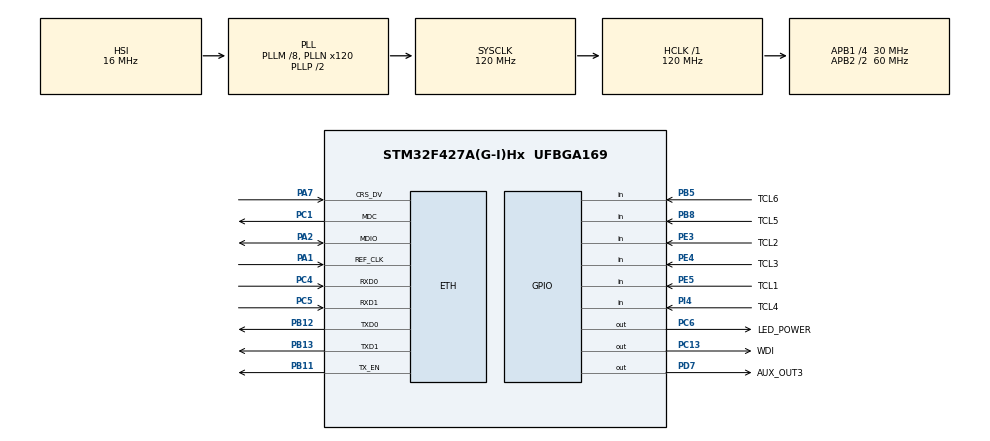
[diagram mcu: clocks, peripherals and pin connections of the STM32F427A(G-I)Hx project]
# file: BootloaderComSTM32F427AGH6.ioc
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ETH.MediaInterface=ETH_MEDIA_INTERFACE_RMII
ETH.PHY_Name_RMII=DP83848_PHY_ADDRESS
LWIP.GATEWAY_ADDRESS=010.001.025.001
LWIP.IP_ADDRESS=010.001.025.133
LWIP.LWIP_DHCP=0
LWIP.LWIP_TCP=0
LWIP.MEMP_NUM_TCP_PCB=2
LWIP.MEMP_NUM_UDP_PCB=2
LWIP.NETMASK_ADDRESS=255.255.255.000
LWIP.Version=v2.1.2_Cube
Mcu.Family=STM32F4
Mcu.Name=STM32F427A(G-I)Hx
Mcu.Package=UFBGA169
NVIC.ETH_IRQn=true\:0\:0\:false\:false\:true\:true\:true
NVIC.PriorityGroup=NVIC_PRIORITYGROUP_4
NVIC.TIM8_BRK_TIM12_IRQn=true\:0\:0\:false\:false\:true\:true\:true
PA1.Mode=RMII
PA1.Signal=ETH_REF_CLK
PA13.Mode=Serial_Wire
PA13.Signal=SYS_JTMS-SWDIO
PA14.Mode=Serial_Wire
PA14.Signal=SYS_JTCK-SWCLK
PA2.Mode=RMII
PA2.Signal=ETH_MDIO
PA7.Mode=RMII
PA7.Signal=ETH_CRS_DV
PB11.Mode=RMII
PB11.Signal=ETH_TX_EN
PB12.Mode=RMII
PB12.Signal=ETH_TXD0
PB13.Mode=RMII
PB13.Signal=ETH_TXD1
PB5.GPIO_Label=TCL6
PB5.Signal=GPIO_Input
PB8.GPIO_Label=TCL5
PB8.Signal=GPIO_Input
PC1.Mode=RMII
PC1.Signal=ETH_MDC
PC13.GPIO_Label=WDI
PC13.Signal=GPIO_Output
PC4.Mode=RMII
PC4.Signal=ETH_RXD0
PC5.Mode=RMII
PC5.Signal=ETH_RXD1
PC6.GPIO_Label=LED_POWER
PC6.Signal=GPIO_Output
PD7.GPIO_Label=AUX_OUT3
PD7.Signal=GPIO_Output
PE3.GPIO_Label=TCL2
PE3.GPIO_PuPd=GPIO_PULLUP
PE3.Signal=GPIO_Input
PE4.GPIO_Label=TCL3
PE4.Signal=GPIO_Input
PE5.GPIO_Label=TCL1
PE5.GPIO_PuPd=GPIO_PULLUP
PE5.Signal=GPIO_Input
PI4.GPIO_Label=TCL4
PI4.Signal=GPIO_Input
ProjectManager.HeapSize=0x400
ProjectManager.StackSize=0x600
ProjectManager.TargetToolchain=STM32CubeIDE
RCC.48MHZClocksFreq_Value=60000000
RCC.AHBFreq_Value=120000000
RCC.APB1CLKDivider=RCC_HCLK_DIV4
RCC.APB1Freq_Value=30000000
RCC.APB1TimFreq_Value=60000000
RCC.APB2CLKDivider=RCC_HCLK_DIV2
RCC.APB2Freq_Value=60000000
RCC.APB2TimFreq_Value=120000000
RCC.CortexFreq_Value=120000000
RCC.HCLKFreq_Value=120000000
RCC.HSE_VALUE=8000000
RCC.HSI_VALUE=16000000
RCC.LSE_VALUE=32768
RCC.PLLM=8
RCC.PLLN=120
RCC.SYSCLKFreq_VALUE=120000000
RCC.SYSCLKSource=RCC_SYSCLKSOURCE_PLLCLK
RCC.VCOOutputFreq_Value=240000000
TIM12.Period=90
TIM12.Prescaler=9999
VP_CRC_VS_CRC.Mode=CRC_Activate
VP_LWIP_VS_Enabled.Mode=Enabled
VP_TIM12_VS_ClockSourceINT.Mode=Internal
board=custom

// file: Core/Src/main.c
/* USER CODE BEGIN Header */
/**
  ******************************************************************************
  * @file           : main.c
  * @brief          : Main program body
  ******************************************************************************
  * @attention
  *
  * <h2><center>&copy; Copyright (c) 2021 STMicroelectronics.
  * All rights reserved.</center></h2>
  *
  * This software component is licensed by ST under BSD 3-Clause license,
  * the "License"; You may not use this file except in compliance with the
  * License. You may obtain a copy of the License at:
  *                        opensource.org/licenses/BSD-3-Clause
  *
  ******************************************************************************
  */
/* USER CODE END Header */
#include "main.h"
#include "lwip.h"

CRC_HandleTypeDef hcrc;

TIM_HandleTypeDef htim12;

void SystemClock_Config(void);
static void MX_GPIO_Init(void);
static void MX_CRC_Init(void);
static void MX_TIM12_Init(void);

/* USER CODE BEGIN 0 */
///////////////////////////////////////////////////////////////////////////////////////////////////
#undef STM47x

#include "lwip/opt.h"
#include "lwip/udp.h"
#include "lwip/pbuf.h"

#include "string.h"
#include "netif.h"

#ifdef STM47x
	#include "stm32f7xx_hal.h"
#else
	#include "stm32f4xx_hal.h"
#endif

#define RTC_RAM_BASE_ADDR   BKPSRAM_BASE
//#define BaseBattRam				(*(volatile unsigned long *)(RTC_RAM_BASE_ADDR + 0x000))

typedef struct _RegistroCabecalho2K1{
	unsigned long id;	//identificador do tipo de registro

} BaseBattRam1;

typedef struct _EstruturaBattRam2{
	int buffer[100];

} BaseBattRam2;

#define BattRam1 (*(volatile BaseBattRam1 *)(RTC_RAM_BASE_ADDR + 0x000))
#define BattRam2 (*(volatile BaseBattRam2 *)(RTC_RAM_BASE_ADDR + 0x9ff)) //A BATTRAM tem 4kbytes, estou "iniciando" a BattRam2 512 bytes acima do fim da região BattRam1

//#define PORTA_ 1001
#define PORTA_ BattRam2.buffer[12]

uint32_t buffwords[64*256+10];
uint32_t next_addr_to_write;
uint32_t indx;

/* Base address of the Flash sectors single bank organization*/
#ifdef STM47x

#define ADDR_FLASH_SECTOR_0     ((uint32_t)0x08000000) /* Base address of Sector 0, 32 Kbytes */
#define ADDR_FLASH_SECTOR_1     ((uint32_t)0x08008000) /* Base address of Sector 1, 32 Kbytes */
#define ADDR_FLASH_SECTOR_2     ((uint32_t)0x08010000) /* Base address of Sector 2, 32 Kbytes */
#define ADDR_FLASH_SECTOR_3     ((uint32_t)0x08018000) /* Base address of Sector 3, 32 Kbytes */
#define ADDR_FLASH_SECTOR_4     ((uint32_t)0x08020000) /* Base address of Sector 4, 128 Kbytes */
#define ADDR_FLASH_SECTOR_5     ((uint32_t)0x08040000) /* Base address of Sector 5, 256 Kbytes */
#define ADDR_FLASH_SECTOR_6     ((uint32_t)0x08080000) /* Base address of Sector 6, 256 Kbytes */
#define ADDR_FLASH_SECTOR_7     ((uint32_t)0x080C0000) /* Base address of Sector 7, 256 Kbytes */

#define FLASH_CODIGO	((uint32_t) 0x080c0000)

#else

#define ADDR_FLASH_SECTOR_0     ((uint32_t)0x08000000) /* Base address of Sector 0, 16 Kbytes */
#define ADDR_FLASH_SECTOR_1     ((uint32_t)0x08004000) /* Base address of Sector 1, 16 Kbytes */
#define ADDR_FLASH_SECTOR_2     ((uint32_t)0x08008000) /* Base address of Sector 2, 16 Kbytes */
#define ADDR_FLASH_SECTOR_3     ((uint32_t)0x0800C000) /* Base address of Sector 3, 16 Kbytes */
#define ADDR_FLASH_SECTOR_4     ((uint32_t)0x08010000) /* Base address of Sector 4, 64 Kbytes */
#define ADDR_FLASH_SECTOR_5     ((uint32_t)0x08020000) /* Base address of Sector 5, 128 Kbytes */
#define ADDR_FLASH_SECTOR_6     ((uint32_t)0x08040000) /* Base address of Sector 6, 128 Kbytes */
#define ADDR_FLASH_SECTOR_7     ((uint32_t)0x08060000) /* Base address of Sector 7, 128 Kbytes */
#define ADDR_FLASH_SECTOR_8     ((uint32_t)0x08080000) /* Base address of Sector 8, 128 Kbytes */
#define ADDR_FLASH_SECTOR_9     ((uint32_t)0x080A0000) /* Base address of Sector 9, 128 Kbytes */
#define ADDR_FLASH_SECTOR_10    ((uint32_t)0x080C0000) /* Base address of Sector 10, 128 Kbytes */
#define ADDR_FLASH_SECTOR_11    ((uint32_t)0x080E0000) /* Base address of Sector 11, 128 Kbytes */

#define FLASH_CODIGO	ADDR_FLASH_SECTOR_5

#endif

uint32_t FirstSector = 0, NbOfSectors = 0;
uint32_t Address = 0, SECTORError = 0;
__IO uint32_t data32 = 0 , MemoryProgramStatus = 0;

/*Variable used for Erase procedure*/
static FLASH_EraseInitTypeDef EraseInitStruct;

static uint32_t GetSector(uint32_t Address)
{
  uint32_t sector = 0;

  if((Address < ADDR_FLASH_SECTOR_1) && (Address >= ADDR_FLASH_SECTOR_0))
  {
    sector = FLASH_SECTOR_0;
  }
  else if((Address < ADDR_FLASH_SECTOR_2) && (Address >= ADDR_FLASH_SECTOR_1))
  {
    sector = FLASH_SECTOR_1;
  }
  else if((Address < ADDR_FLASH_SECTOR_3) && (Address >= ADDR_FLASH_SECTOR_2))
  {
    sector = FLASH_SECTOR_2;
  }
  else if((Address < ADDR_FLASH_SECTOR_4) && (Address >= ADDR_FLASH_SECTOR_3))
  {
    sector = FLASH_SECTOR_3;
  }
  else if((Address < ADDR_FLASH_SECTOR_5) && (Address >= ADDR_FLASH_SECTOR_4))
  {
    sector = FLASH_SECTOR_4;
  }
  else if((Address < ADDR_FLASH_SECTOR_6) && (Address >= ADDR_FLASH_SECTOR_5))
  {
    sector = FLASH_SECTOR_5;
  }
  else if((Address < ADDR_FLASH_SECTOR_7) && (Address >= ADDR_FLASH_SECTOR_6))
  {
    sector = FLASH_SECTOR_6;
  }

#ifdef STM47x
  else /* (Address < FLASH_END_ADDR) && (Address >= ADDR_FLASH_SECTOR_11) */
  {
	  sector = FLASH_SECTOR_7; //sector = FLASH_SECTOR_11;
  }
  return sector;
}
#else
	else if((Address < ADDR_FLASH_SECTOR_8) && (Address >= ADDR_FLASH_SECTOR_7))
	{
	  sector = FLASH_SECTOR_7;
	}
	else if((Address < ADDR_FLASH_SECTOR_9) && (Address >= ADDR_FLASH_SECTOR_8))
	{
	  sector = FLASH_SECTOR_8;
	}
	else if((Address < ADDR_FLASH_SECTOR_10) && (Address >= ADDR_FLASH_SECTOR_9))
	{
	  sector = FLASH_SECTOR_9;
	}  else if((Address < ADDR_FLASH_SECTOR_11) && (Address >= ADDR_FLASH_SECTOR_10))
	{
	  sector = FLASH_SECTOR_10;
	}
	else /* (Address < FLASH_END_ADDR) && (Address >= ADDR_FLASH_SECTOR_11) */
	{
		  sector  = FLASH_SECTOR_11;
	}
	return sector;
	}

#endif

/**-----------------------------------------------------------------------------------------------------------------------------------
  * @resumo Programa uma word (32-bit) no endereço de memória flash específico
  *
  * @OBS1   As funções HAL_FLASH_Unlock() e HAL_FLASH_OB_Unlock() devem ser chamadas previamente para habilitar a interface FLASH
  *         As funções HAL_FLASH_Lock() e HAL_FLASH_OB_Lock() devem ser chamadas  posteriormente para desabilitar a interface FLASH
  *
  * @OBS2   O endereço de memória FLASH deve ser apagado antes da inserção de um novo valor. Neste caso, a página deve ser apagada.
  *
  * @param  Endereço:	  Endereço da memória em que o dado de 32 bits deverá ser armazenado. Endereço deve ser múltiplo de 2
  * @param  *dado:        Ponteiro para o valor a ser inserido no endereço de memória especificado
  *
  * @retval Void
  */
unsigned int FLASH_escreve_32bits(uint32_t endereco, uint32_t *dado){
	unsigned int problema=0;
	HAL_FLASH_Unlock();
	HAL_FLASH_OB_Unlock();

	for (int i=0;i<10;i++)
		if( HAL_FLASH_Program(FLASH_TYPEPROGRAM_WORD,(uint64_t)endereco, *dado) == HAL_OK){
			// rotina caso ocorra erro no processo de apagar
			break;
		}

	HAL_FLASH_OB_Lock();
	HAL_FLASH_Lock();

}
/*-----------------------------------------------------------------------------------------------------------------------------------*/

void erase(uint32_t  start,uint32_t end){
	/* Unlock the Flash to enable the flash control register access *************/
	HAL_FLASH_Unlock();

	/* Allow Access to option bytes sector */
	HAL_FLASH_OB_Unlock();

	 /* Get the 1st sector to erase */
	  FirstSector = GetSector(start);
	  /* Get the number of sector to erase from 1st sector*/
	  NbOfSectors = GetSector(end) - FirstSector + 1;
	  /* Fill EraseInit structure*/
	  EraseInitStruct.TypeErase     = FLASH_TYPEERASE_SECTORS;
	  EraseInitStruct.VoltageRange  = FLASH_VOLTAGE_RANGE_3;
	  EraseInitStruct.Sector        = FirstSector;
	  EraseInitStruct.NbSectors     = NbOfSectors;
	  for (int i=0;i<10;i++)
		  if (HAL_FLASHEx_Erase(&EraseInitStruct, &SECTORError) == HAL_OK)
		  {
			/*
			  Error occurred while sector erase.
			  User can add here some code to deal with this error.
			  SECTORError will contain the faulty sector and then to know the code error on this sector,
			  user can call function 'HAL_FLASH_GetError()'
			*/
			  break;
		  }

	HAL_FLASH_OB_Lock();
	HAL_FLASH_Lock();
}

unsigned int program(void *flash_addr, unsigned int data_addr, unsigned int size){
unsigned int bsize=size>>2;  //a gravacao acontece em palavras de 32bits, por isso devido por 4 o size quera passado em bytes
uint32_t *data_to_FLASH;
int i;
unsigned int problema=0;
data_to_FLASH=(uint32_t)data_addr;

	for(i = 0; i < bsize; i+=1){
	   problema=FLASH_escreve_32bits(flash_addr + i*4, (uint32_t*)&data_to_FLASH[i]);
	   if (problema!=0) break;
    }
	return problema;
}

void enable_backup_sram(uint16_t clockforever)
{
    /*DBP : Enable access to Backup domain */
   HAL_PWR_EnableBkUpAccess();
    /*PWREN : Enable backup domain access  */
 __HAL_RCC_PWR_CLK_ENABLE();
    /*BRE : Enable backup regulator
      BRR : Wait for backup regulator to stabilize */
 HAL_PWREx_EnableBkUpReg();
   /*DBP : Disable access to Backup domain */
    //HAL_PWR_DisableBkUpAccess();

    if  (clockforever==1) //se 1 deixa habilitado o clock, fazendo com que o acesso a ram backup seja direto.
    __HAL_RCC_BKPSRAM_CLK_ENABLE();

}

void writeBkpSram(uint32_t l_data, uint32_t WRITE_READ_ADDR)
{
   /* Enable clock to BKPSRAM */
  __HAL_RCC_BKPSRAM_CLK_ENABLE();
  /* Pointer write on specific location of backup SRAM */
  *(uint32_t *) (BKPSRAM_BASE + WRITE_READ_ADDR) = l_data;
 /* Disable clock to BKPSRAM */
 __HAL_RCC_BKPSRAM_CLK_DISABLE();
}

uint32_t readBkpSram ( uint32_t WRITE_READ_ADDR)
{
   uint32_t i_retval;

  /* Enable clock to BKPSRAM */
  __HAL_RCC_BKPSRAM_CLK_ENABLE();
  /* Pointer write from specific location of backup SRAM */
  i_retval =  *(uint32_t*) (BKPSRAM_BASE + WRITE_READ_ADDR);
  /* Disable clock to BKPSRAM */
  __HAL_RCC_BKPSRAM_CLK_DISABLE();
  return i_retval;
}

//extern uint16_t udp_callback(uint8_t soc, uint8_t *rip, uint16_t rport, uint8_t *buf, uint16_t len);//

uint32_t cnt_watchdog = 0;

struct udp_pcb *upcb;
struct udp_pcb *upcb1;

void udp_echoserver_receive_callback1(void *arg, struct udp_pcb *upcb, struct pbuf *p, struct ip_addr *addr, u16_t port)
{
	 u8_t *data;
	  u16_t len;
	  err_t err;
	  uint8_t *buf;

        //resposta aqui...
			buf=p->payload;
			uint32_t Command 	  = (buf[ 3]<<24) +  (buf[ 2]<<16) +  (buf[1]<<8) +  buf[0];
			uint32_t adressFlash  = (buf[ 7]<<24) +  (buf[ 6]<<16) +  (buf[5]<<8) +  buf[4];
			uint32_t dataToFlash  = (buf[11]<<24) +  (buf[10]<<16) +  (buf[9]<<8) +  buf[8];

			if (Command==0xFFFFFFFF) //apagar 1 setor
			{
				 erase(adressFlash, adressFlash+1);
			     next_addr_to_write =FLASH_CODIGO;
			     //HAL_Delay(1000);

				 indx=0;

			}
			if (Command==0xDEADBEEF) //resetar o sistema
			{
				 HAL_PWR_EnableBkUpAccess();

				 free(buffwords);
				 if (BattRam1.id==0xABCD)
					 BattRam1.id=0x0009;

				 HAL_NVIC_SystemReset();
			}
			if (Command==0x0) //escreve uma word na FLASH
			{
				 FLASH_escreve_32bits(adressFlash, &dataToFlash);
			}
			if (Command==0x1BABACA1) //escreve uma 1024 bytes num buffer de 64k
			{
				int k=0, i=0;
				while (i<(256*2)){

					   dataToFlash = (buf[ 11+i]<<24) +  (buf[ 10 +i]<<16) +  (buf[9 +i]<<8) +  buf[8 +i];

					   //FLASH_escreve_32bits(adressFlash + i, &dataToFlash);
					   buffwords[indx]=dataToFlash;
					   indx=indx+1;
					   i=i+4;
					   k=k+1;
				    }

			}

			if (Command==0x2BABACA2) //escreve na FLASH o que tiver que ser escrito.
			{
				for(int i = 0; i <indx; i+=1){

				    FLASH_escreve_32bits(next_addr_to_write + i*4, &buffwords[i]);
				}
				next_addr_to_write=next_addr_to_write+indx*4;
				indx=0;

			}

			//HAL_Delay(10);

			uint8_t temp = buf ;

  /* Free the p buffer */
  pbuf_free(p);

  udp_send1 ( addr, port, temp, 8);

}

void  udp_send1 (struct ip_addr *addr, u16_t port, uint8_t *sendbuf, uint16_t len)
{

	err_t err;
	typedef ip4_addr_t ip_addr_t;

	struct pbuf *p;

	p=pbuf_alloc(PBUF_TRANSPORT, len, PBUF_POOL);

    //pbuf_take(p, sendbuf, len) ;
	 memcpy(p->payload, sendbuf, len); // payload copied

    //err= udp_connect(upcb,  &Ripaddr, NroPortaRemota);
	//err=-err;
     err= udp_connect(upcb1,  addr, port);
     if(err != ERR_OK)
     {
    	 err=-err;
     }

    //err=udp_send (upcb, p);
	err=udp_sendto (upcb1, p, addr, port); // the message back to the original host
    if(err != ERR_OK)
    {
   	 err=-err;
    }

	pbuf_free(p);
	  /* free the UDP connection, so we can accept new clients */
    udp_disconnect(upcb1);

}

void udp_echoserver_init(void)
{
   struct udp_pcb *upcb;
   err_t err;

   /* Create a new UDP control block  */
   upcb = udp_new();
   upcb1 = udp_new();

   if (upcb)
   {
     /* Bind the upcb to the UDP_PORT port */
     /* Using IP_ADDR_ANY allow the upcb to be used by any local interface */
      err = udp_bind(upcb, IP_ADDR_ANY, PORTA_);

      if(err == ERR_OK)
      {
        /* Set a receive callback for the upcb */
        udp_recv(upcb, udp_echoserver_receive_callback1, NULL);
      }
      else
      {
        udp_remove(upcb);
        printf("can not bind pcb");
      }
   }
   else
   {
     printf("can not create pcb");
   }
}

static void MX_GPIO_DeInit(void)
{

    __HAL_RCC_GPIOG_CLK_DISABLE();
    __HAL_RCC_GPIOD_CLK_DISABLE();
	__HAL_RCC_GPIOB_CLK_DISABLE();
	__HAL_RCC_GPIOA_CLK_DISABLE();
    __HAL_RCC_GPIOH_CLK_DISABLE();
	__HAL_RCC_GPIOC_CLK_DISABLE();

  HAL_GPIO_DeInit(TCL1_GPIO_Port, TCL1_Pin);
  HAL_GPIO_DeInit(TCL2_GPIO_Port, TCL2_Pin);
  HAL_GPIO_DeInit(TCL3_GPIO_Port, TCL3_Pin);
  HAL_GPIO_DeInit(TCL4_GPIO_Port, TCL4_Pin);
  HAL_GPIO_DeInit(TCL5_GPIO_Port, TCL5_Pin);
  HAL_GPIO_DeInit(TCL6_GPIO_Port, TCL6_Pin);
  HAL_GPIO_DeInit(WDI_GPIO_Port, WDI_Pin);

}

void deinitEverything()
{
	//-- reset peripherals to guarantee flawless start of user application
	MX_GPIO_DeInit( );
	HAL_RCC_DeInit();
	HAL_DeInit();
	SysTick->CTRL = 0;
	SysTick->LOAD = 0;
	SysTick->VAL = 0;
}

typedef void (application_t)(void);

typedef struct
{
    uint32_t		stack_addr;     // Stack Pointer
    application_t*	func_p;        // Program Counter
} JumpStruct;

void jumpToApp(const uint32_t address)
{
	const JumpStruct* vector_p = (JumpStruct*)address;

	deinitEverything();

	/* let's do The Jump! */
    /* Jump, used asm to avoid stack optimization */
    asm("msr msp, %0; bx %1;" : : "r"(vector_p->stack_addr), "r"(vector_p->func_p));
}

// Callback: timer has rolled over
// External Watchdog Timer
void HAL_TIM_PeriodElapsedCallback(TIM_HandleTypeDef *htim)
{
  // Check which version of the timer triggered this callback and toggle strobe pin on external watchdog
  if (htim == &htim12 )
  {
	  cnt_watchdog++;

	  if(cnt_watchdog <= 800){ 					// 800 equiv 8s
		  HAL_GPIO_TogglePin(GPIOC, GPIO_PIN_13);
	  }

  }
}

/* USER CODE END 0 */

int main(void)
{

  /* MCU Configuration--------------------------------------------------------*/

  /* Reset of all peripherals, Initializes the Flash interface and the Systick. */
  HAL_Init();

  /* Configure the system clock */
  SystemClock_Config();

  /* USER CODE BEGIN SysInit */

#if 0
  /* USER CODE END SysInit */

  /* Initialize all configured peripherals */
  MX_GPIO_Init();
  MX_CRC_Init();
  MX_LWIP_Init();
  MX_TIM12_Init();
  /* USER CODE BEGIN 2 */
#endif

  MX_GPIO_Init();

  MX_TIM12_Init();
  HAL_TIM_Base_Start_IT(&htim12);

  __HAL_RCC_BKPSRAM_CLK_ENABLE();

  if(!HAL_GPIO_ReadPin(TCL2_GPIO_Port, TCL2_Pin) || BattRam1.id==0xABCD)
  {
		//se o botão está pressionado, então entra no modo de bootloader

		//MX_GPIO_DeInit();
		//MX_GPIO_Init();
		MX_CRC_Init();
		MX_LWIP_Init();

	//	buffwords=(uint32_t*)calloc(64*1024, sizeof(uint8_t));  //o processador possui 192Kbytes de RAM

	    udp_echoserver_init();

	    HAL_TIM_Base_Stop(&htim12);

	    while (1)
	    {

	  	   HAL_GPIO_WritePin(WDI_GPIO_Port,WDI_Pin, GPIO_PIN_RESET);
	   	   HAL_GPIO_WritePin(WDI_GPIO_Port,WDI_Pin, GPIO_PIN_SET);

	   	   HAL_GPIO_WritePin( AUX_OUT3_GPIO_Port ,AUX_OUT3_Pin,GPIO_PIN_SET); //desliga o LED
	   	   HAL_GPIO_WritePin( LED_POWER_GPIO_Port , LED_POWER_Pin,GPIO_PIN_SET); //desliga o LED
	   	   HAL_Delay(50);
	   	   MX_LWIP_Process( );
	   	   HAL_GPIO_WritePin( AUX_OUT3_GPIO_Port ,AUX_OUT3_Pin,GPIO_PIN_RESET); //liga o LED
	   	   HAL_GPIO_WritePin( LED_POWER_GPIO_Port , LED_POWER_Pin,GPIO_PIN_RESET); //liga o LED
	   	   HAL_Delay(50);
	       MX_LWIP_Process( );

	       if(!HAL_GPIO_ReadPin(TCL1_GPIO_Port, TCL1_Pin)){

	    	   HAL_PWR_EnableBkUpAccess();
			   BattRam1.id=0x0009;
			   HAL_NVIC_SystemReset();

			   //MX_GPIO_DeInit();
			   //jumpToApp(FLASH_CODIGO);

	       }

	    }

    }
    else //se o botão não esta apertado, então pulamos até a aplicação.
    {
    	HAL_TIM_Base_Stop(&htim12);
    	MX_GPIO_DeInit();
    	jumpToApp(FLASH_CODIGO);

    }

  ///nunca chega nesta parte do código pra baixo...

  /* USER CODE END 2 */

  /* Infinite loop */
  while (1)
  {

  }
}

void SystemClock_Config(void)
{
  RCC_OscInitTypeDef RCC_OscInitStruct = {0};
  RCC_ClkInitTypeDef RCC_ClkInitStruct = {0};

  /** Configure the main internal regulator output voltage
  */
  __HAL_RCC_PWR_CLK_ENABLE();
  __HAL_PWR_VOLTAGESCALING_CONFIG(PWR_REGULATOR_VOLTAGE_SCALE3);
  /** Initializes the RCC Oscillators according to the specified parameters
  * in the RCC_OscInitTypeDef structure.
  */
  RCC_OscInitStruct.OscillatorType = RCC_OSCILLATORTYPE_HSI;
  RCC_OscInitStruct.HSIState = RCC_HSI_ON;
  RCC_OscInitStruct.HSICalibrationValue = RCC_HSICALIBRATION_DEFAULT;
  RCC_OscInitStruct.PLL.PLLState = RCC_PLL_ON;
  RCC_OscInitStruct.PLL.PLLSource = RCC_PLLSOURCE_HSI;
  RCC_OscInitStruct.PLL.PLLM = 8;
  RCC_OscInitStruct.PLL.PLLN = 120;
  RCC_OscInitStruct.PLL.PLLP = RCC_PLLP_DIV2;
  RCC_OscInitStruct.PLL.PLLQ = 4;
  if (HAL_RCC_OscConfig(&RCC_OscInitStruct) != HAL_OK)
  {
    Error_Handler();
  }
  /** Initializes the CPU, AHB and APB buses clocks
  */
  RCC_ClkInitStruct.ClockType = RCC_CLOCKTYPE_HCLK|RCC_CLOCKTYPE_SYSCLK
                              |RCC_CLOCKTYPE_PCLK1|RCC_CLOCKTYPE_PCLK2;
  RCC_ClkInitStruct.SYSCLKSource = RCC_SYSCLKSOURCE_PLLCLK;
  RCC_ClkInitStruct.AHBCLKDivider = RCC_SYSCLK_DIV1;
  RCC_ClkInitStruct.APB1CLKDivider = RCC_HCLK_DIV4;
  RCC_ClkInitStruct.APB2CLKDivider = RCC_HCLK_DIV2;

  if (HAL_RCC_ClockConfig(&RCC_ClkInitStruct, FLASH_LATENCY_3) != HAL_OK)
  {
    Error_Handler();
  }
}

static void MX_CRC_Init(void)
{

  hcrc.Instance = CRC;
  if (HAL_CRC_Init(&hcrc) != HAL_OK)
  {
    Error_Handler();
  }

}

static void MX_TIM12_Init(void)
{

  TIM_ClockConfigTypeDef sClockSourceConfig = {0};

  htim12.Instance = TIM12;
  htim12.Init.Prescaler = 9999;
  htim12.Init.CounterMode = TIM_COUNTERMODE_UP;
  htim12.Init.Period = 90;
  htim12.Init.ClockDivision = TIM_CLOCKDIVISION_DIV1;
  htim12.Init.AutoReloadPreload = TIM_AUTORELOAD_PRELOAD_DISABLE;
  if (HAL_TIM_Base_Init(&htim12) != HAL_OK)
  {
    Error_Handler();
  }
  sClockSourceConfig.ClockSource = TIM_CLOCKSOURCE_INTERNAL;
  if (HAL_TIM_ConfigClockSource(&htim12, &sClockSourceConfig) != HAL_OK)
  {
    Error_Handler();
  }

}

static void MX_GPIO_Init(void)
{
  GPIO_InitTypeDef GPIO_InitStruct = {0};

  /* GPIO Ports Clock Enable */
  __HAL_RCC_GPIOD_CLK_ENABLE();
  __HAL_RCC_GPIOA_CLK_ENABLE();
  __HAL_RCC_GPIOI_CLK_ENABLE();
  __HAL_RCC_GPIOE_CLK_ENABLE();
  __HAL_RCC_GPIOB_CLK_ENABLE();
  __HAL_RCC_GPIOC_CLK_ENABLE();

  /*Configure GPIO pin Output Level */
  HAL_GPIO_WritePin(AUX_OUT3_GPIO_Port, AUX_OUT3_Pin, GPIO_PIN_RESET);

  /*Configure GPIO pin Output Level */
  HAL_GPIO_WritePin(GPIOC, WDI_Pin|LED_POWER_Pin, GPIO_PIN_RESET);

  /*Configure GPIO pin : AUX_OUT3_Pin */
  GPIO_InitStruct.Pin = AUX_OUT3_Pin;
  GPIO_InitStruct.Mode = GPIO_MODE_OUTPUT_PP;
  GPIO_InitStruct.Pull = GPIO_NOPULL;
  GPIO_InitStruct.Speed = GPIO_SPEED_FREQ_LOW;
  HAL_GPIO_Init(AUX_OUT3_GPIO_Port, &GPIO_InitStruct);

  /*Configure GPIO pin : TCL4_Pin */
  GPIO_InitStruct.Pin = TCL4_Pin;
  GPIO_InitStruct.Mode = GPIO_MODE_INPUT;
  GPIO_InitStruct.Pull = GPIO_NOPULL;
  HAL_GPIO_Init(TCL4_GPIO_Port, &GPIO_InitStruct);

  /*Configure GPIO pins : TCL2_Pin TCL1_Pin */
  GPIO_InitStruct.Pin = TCL2_Pin|TCL1_Pin;
  GPIO_InitStruct.Mode = GPIO_MODE_INPUT;
  GPIO_InitStruct.Pull = GPIO_PULLUP;
  HAL_GPIO_Init(GPIOE, &GPIO_InitStruct);

  /*Configure GPIO pin : TCL3_Pin */
  GPIO_InitStruct.Pin = TCL3_Pin;
  GPIO_InitStruct.Mode = GPIO_MODE_INPUT;
  GPIO_InitStruct.Pull = GPIO_NOPULL;
  HAL_GPIO_Init(TCL3_GPIO_Port, &GPIO_InitStruct);

  /*Configure GPIO pins : TCL5_Pin TCL6_Pin */
  GPIO_InitStruct.Pin = TCL5_Pin|TCL6_Pin;
  GPIO_InitStruct.Mode = GPIO_MODE_INPUT;
  GPIO_InitStruct.Pull = GPIO_NOPULL;
  HAL_GPIO_Init(GPIOB, &GPIO_InitStruct);

  /*Configure GPIO pins : WDI_Pin LED_POWER_Pin */
  GPIO_InitStruct.Pin = WDI_Pin|LED_POWER_Pin;
  GPIO_InitStruct.Mode = GPIO_MODE_OUTPUT_PP;
  GPIO_InitStruct.Pull = GPIO_NOPULL;
  GPIO_InitStruct.Speed = GPIO_SPEED_FREQ_LOW;
  HAL_GPIO_Init(GPIOC, &GPIO_InitStruct);

}

void Error_Handler(void)
{
  __disable_irq();
  while (1)
  {
  }
}

/************************ (C) COPYRIGHT STMicroelectronics *****END OF FILE****/
